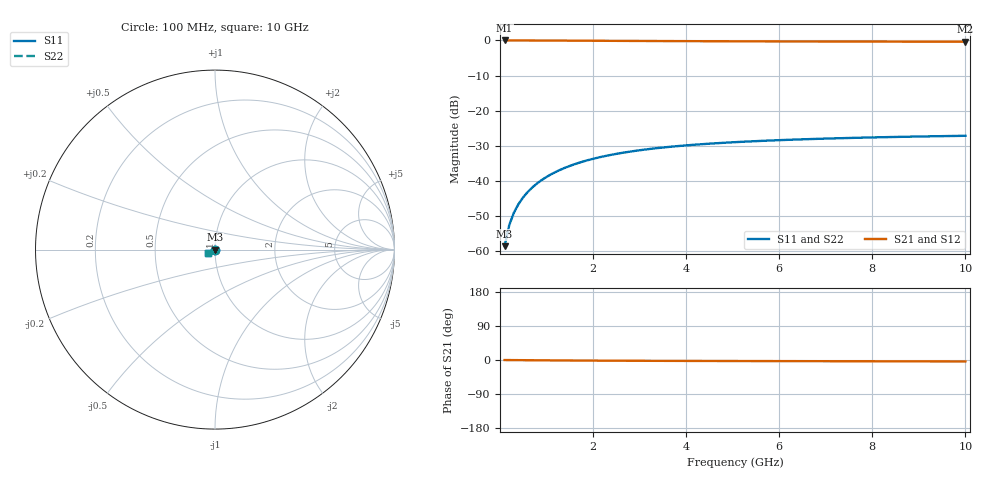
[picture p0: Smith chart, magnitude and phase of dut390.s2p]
! Touchstone file exported from HFSS 2024.1.0
!  File:  C:/UserFiles/LocalFiles/RDL_TSV_Batchsim/temp_TSV1_390_1779623773.aedt
!  Generated:  08:02:53 PM May 24, 2026
!  Design:  TSV1
!  Project:  temp_TSV1_390_1779623773
!  Setup:  Setup1
!  Solution:  Sweep
! Variables:
!  dtsv = 13.22um
!  hbump = 3um
!  htsv = 55.44um
!  lrdl = 252.1521522um
!  p = 40
!  p1 = 43.92um
!  t = 500um
!  trdl = 3um
!  wrdl = 24.89489489um
# GHz S MA R 50.000000
! Terminal data exported
! Port[1] = TSV22_T1
! Port[2] = TSV22_T2
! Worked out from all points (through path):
!   100 points, 100 MHz to 10 GHz, reference 50 ohm
!   highest |S21| = 0.00 dB at 100 MHz (marker M1); lowest = -0.4 dB at 10 GHz (marker M2)
!   lowest |S11| = -58.7 dB at 100 MHz (marker M3), VSWR 1.00, Z = 50 - j0.116 ohm
!   |S11| at or under -10 dB: start of sweep to end of sweep
!   |S22| runs from -58.7 to -27.2 dB; largest |S21 - S12| = 2.3e-15
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0.1  0.001162 -87.9  0.9999 -0.1  0.9999 -0.1  0.001162 -87.9
! Gamma 0 0 0 0
! Port Impedance 50 0 50 0
0.2  0.002329 -91.0  0.9998 -0.2  0.9998 -0.2  0.002329 -91.0
0.3  0.003496 -93.1  0.9996 -0.3  0.9996 -0.3  0.003496 -93.1
0.4  0.004654 -95.0  0.9994 -0.4  0.9994 -0.4  0.004654 -95.0
0.5  0.005802 -96.7  0.9991 -0.5  0.9991 -0.5  0.005802 -96.7
0.6  0.006936 -98.4  0.9988 -0.6  0.9988 -0.6  0.006936 -98.4
0.7  0.008053 -99.9  0.9984 -0.7  0.9984 -0.7  0.008053 -99.9
0.8  0.009153 -101.5  0.9979 -0.7  0.9979 -0.7  0.009153 -101.5
0.9  0.01023 -103.0  0.9974 -0.8  0.9974 -0.8  0.01023 -103.0
1.1  0.01233 -105.9  0.9963 -1.0  0.9963 -1.0  0.01233 -105.9
1.4  0.01529 -110.0  0.9945 -1.2  0.9945 -1.2  0.01529 -110.0
1.6  0.01713 -112.6  0.9931 -1.4  0.9931 -1.4  0.01713 -112.6
1.8  0.01886 -115.1  0.9917 -1.5  0.9917 -1.5  0.01886 -115.1
2.1  0.02126 -118.5  0.9896 -1.7  0.9896 -1.7  0.02126 -118.5
2.5  0.0241 -122.7  0.9868 -1.9  0.9868 -1.9  0.0241 -122.7
2.9  0.02657 -126.4  0.9841 -2.0  0.9841 -2.0  0.02657 -126.4
3.4  0.02921 -130.5  0.9809 -2.2  0.9809 -2.2  0.02921 -130.5
4.2  0.03261 -136.0  0.9765 -2.5  0.9765 -2.5  0.03261 -136.0
5.1  0.03554 -140.9  0.9723 -2.7  0.9723 -2.7  0.03554 -140.9
6.7  0.03925 -147.5  0.9667 -3.1  0.9667 -3.1  0.03925 -147.5
8.4  0.04189 -152.6  0.9625 -3.5  0.9625 -3.5  0.04189 -152.6
10  0.04364 -156.4  0.9597 -3.8  0.9597 -3.8  0.04364 -156.4
